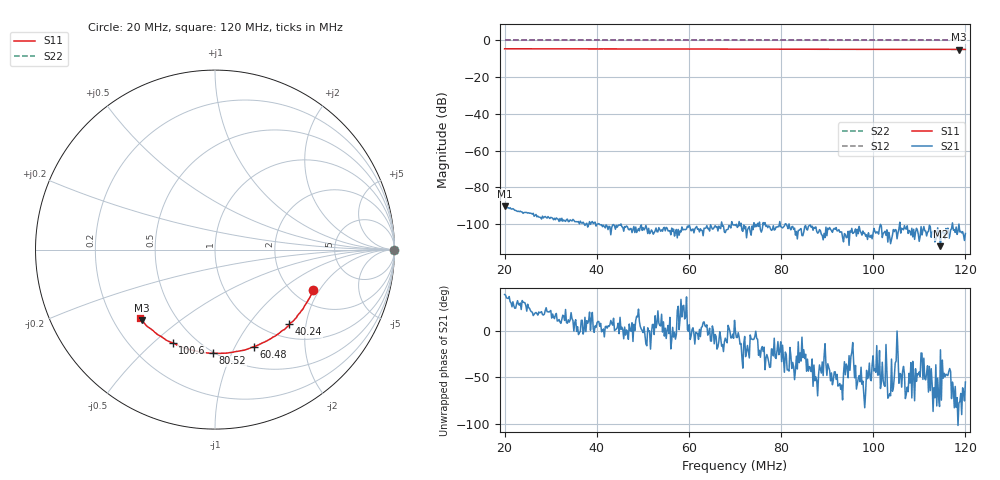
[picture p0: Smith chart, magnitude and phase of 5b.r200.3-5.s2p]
! Anritsu VNA Master:  Model: MS2036C/10/77
! SN:  1601066
! /card0/usr/18may27.balun/5b.r200.3.s2p
! Existing Calibration Information:
! TYPE:  Current Settings,  Active Cal Settings
! TIME:  05/27/2018 04:07:43 PM,  05/27/2018 03:52:12 PM
! INTERNAL TEMP:  51.5 C,  52.5 C
! # POINTS:  500,  500
! START FREQ:  20.000 MHz,  20.000 MHz
! STOP FREQ:  120.000 MHz,  120.000 MHz
! SOURCE POWER:  High,  High
! IFBW:  50 Hz,  50 Hz
! AVG FACTOR:  1 ,  1
! REF PLANE 1:  0 mm,  0 mm
! REF PLANE 2:  0 mm,  0 mm
! CAL TYPE:  Full S11,  Full S11
! CAL METHOD:  SOLT,  SOLT
! CAL LINE TYPE:  Coax,  Coax
! DUT PORT 1:  K-Conn(M),  K-Conn(M)
! DUT PORT 2:  K-Conn(M),  K-Conn(M)
! CAL STATUS:  OK: Accuracy High,  --
# GHZ S DB R 50.0
! FREQ.GHZ  S11DB  S11A  S21DB  S21A  S12DB  S12A  S22DB  S22A
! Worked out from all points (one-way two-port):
!   500 points, 20 MHz to 120 MHz, reference 50 ohm
!   highest |S21| = -90.48 dB at 20 MHz (marker M1); lowest = -112.1 dB at 114.6 MHz (marker M2)
!   lowest |S11| = -4.9 dB at 118.6 MHz (marker M3), VSWR 3.62, Z = 15.9 - j18.5 ohm
!   |S11| at or under -10 dB: nowhere
!   |S22| runs from 0.0 to 0.0 dB; largest |S21 - S12| = 1
!   S11 on the Smith chart (normalised r, x): 20 MHz: 2.55, -1.76; 40.24 MHz: 1.27, -1.61; 60.48 MHz: 0.73, -1.20; 80.52 MHz: 0.49, -0.85; 100.6 MHz: 0.37, -0.58; 120 MHz: 0.31, -0.35
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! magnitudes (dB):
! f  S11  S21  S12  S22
! 20 MHz  -4.5  -90.5  0.0  0.0
! 28.22 MHz  -4.6  -95.8  0.0  0.0
! 30.22 MHz  -4.6  -96.6  0.0  0.0
! 34.03 MHz  -4.6  -98.6  0.0  0.0
! 35.63 MHz  -4.6  -98.7  0.0  0.0
! 36.83 MHz  -4.6  -99.6  0.0  0.0
! 40.24 MHz  -4.6  -100.0  0.0  0.0
! 43.65 MHz  -4.6  -100.3  0.0  0.0
! 45.25 MHz  -4.6  -100.0  0.0  0.0
! 53.47 MHz  -4.7  -102.0  0.0  0.0
! 60.48 MHz  -4.7  -103.7  0.0  0.0
! 65.49 MHz  -4.7  -101.8  0.0  0.0
! 70.1 MHz  -4.7  -100.9  0.0  0.0
! 80.52 MHz  -4.8  -101.7  0.0  0.0
! 86.73 MHz  -4.8  -101.2  0.0  0.0
! 100.6 MHz  -4.9  -105.0  0.0  0.0
! 103.4 MHz  -4.8  -104.6  0.0  0.0
! 106.4 MHz  -4.9  -102.9  0.0  0.0
! 112 MHz  -4.9  -104.1  0.0  0.0
! 114.6 MHz  -4.9  -112.1  0.0  0.0
! 118.6 MHz  -4.9  -100.1  0.0  0.0
! 120 MHz  -4.9  -105.2  0.0  0.0
